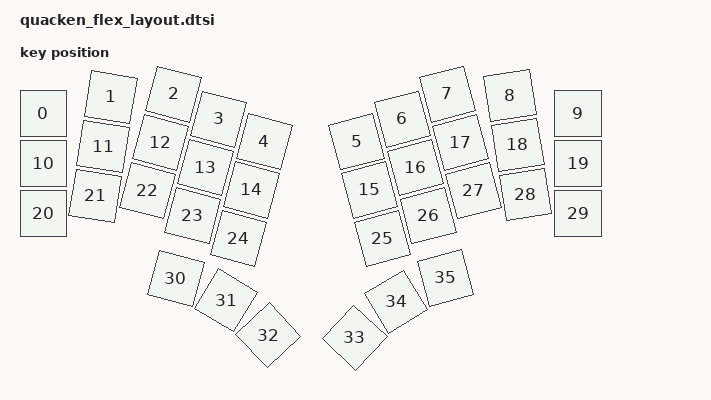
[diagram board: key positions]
// Physical layout of the Quacken Flex, extracted from
// https://github.com/Nuclear-Squid/zmk-keyboard-quacken/blob/aekeynox/boards/ergonautes/quacken_flex/quacken_flex.dts
// Outer columns removed: only the 3x5+3 keys are populated.
/ {
    physical_layout0: physical_layout_0 { // First physical layout, use different naming for other layouts
        compatible = "zmk,physical-layout";
        display-name = "Default Layout";
        keys  //                     w   h    x    y     rot    rx    ry
            = <&key_physical_attrs 100 100  100   95      0      0     0>
            , <&key_physical_attrs 100 100  200   35    900    100   325>
            , <&key_physical_attrs 100 100  300    0   1500    170   310>
            , <&key_physical_attrs 100 100  400   25   1500    170   310>
            , <&key_physical_attrs 100 100  500   45   1500    170   310>

            , <&key_physical_attrs 100 100  770   45 (-1500)  1200   310>
            , <&key_physical_attrs 100 100  870   25 (-1500)  1200   310>
            , <&key_physical_attrs 100 100  970    0 (-1500)  1200   310>
            , <&key_physical_attrs 100 100 1070   35  (-900)  1250   325>
            , <&key_physical_attrs 100 100 1170   95      0      0     0>

            , <&key_physical_attrs 100 100  100  195      0      0     0>
            , <&key_physical_attrs 100 100  200  135    900    100   325>
            , <&key_physical_attrs 100 100  300  100   1500    170   310>
            , <&key_physical_attrs 100 100  400  125   1500    170   310>
            , <&key_physical_attrs 100 100  500  145   1500    170   310>

            , <&key_physical_attrs 100 100  770  145 (-1500)  1200   310>
            , <&key_physical_attrs 100 100  870  125 (-1500)  1200   310>
            , <&key_physical_attrs 100 100  970  100 (-1500)  1200   310>
            , <&key_physical_attrs 100 100 1070  135  (-900)  1250   325>
            , <&key_physical_attrs 100 100 1170  195      0      0     0>

            , <&key_physical_attrs 100 100  100  295      0      0     0>
            , <&key_physical_attrs 100 100  200  235    900    100   325>
            , <&key_physical_attrs 100 100  300  200   1500    170   310>
            , <&key_physical_attrs 100 100  400  225   1500    170   310>
            , <&key_physical_attrs 100 100  500  245   1500    170   310>

            , <&key_physical_attrs 100 100  770  245 (-1500)  1200   310>
            , <&key_physical_attrs 100 100  870  225 (-1500)  1200   310>
            , <&key_physical_attrs 100 100  970  200 (-1500)  1200   310>
            , <&key_physical_attrs 100 100 1070  235  (-900)  1250   325>
            , <&key_physical_attrs 100 100 1170  295      0      0     0>

            , <&key_physical_attrs 100 100  400  355   1500    170   310>
            , <&key_physical_attrs 100 100  500  355   3100    330   400>
            , <&key_physical_attrs 100 100  600  355   4700    415   440>

            , <&key_physical_attrs 100 100  670  400 (-4700)   910   460>
            , <&key_physical_attrs 100 100  770  400 (-3100)   965   420>
            , <&key_physical_attrs 100 100  870  400 (-1500)  1025   330>
            ;
    };
};
